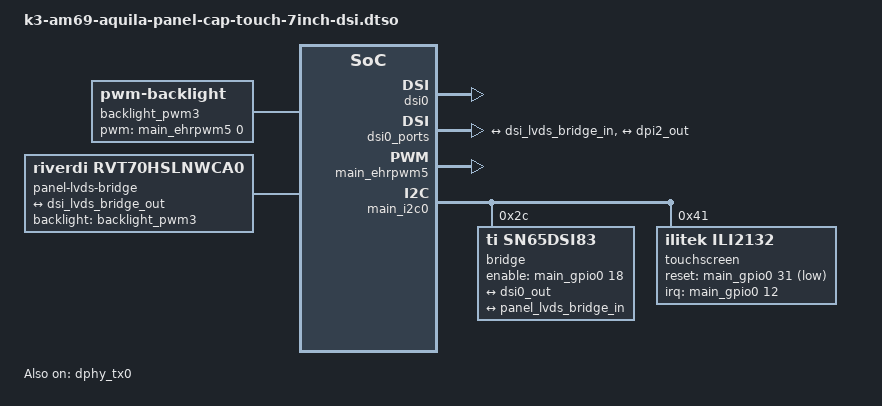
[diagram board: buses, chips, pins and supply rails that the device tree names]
// SPDX-License-Identifier: GPL-2.0-or-later OR MIT
/*
 * Copyright (c) Toradex
 *
 * Toradex Capacitive Touch Display 7" on Aquila DSI_1.
 * Used on Clover Board (J12), DSI_1 is exposed via a FFC/FPC connector.
 *
 * https://developer.toradex.com/hardware/accessories/displays/capacitive-touch-display-7inch-dsi
 * https://www.toradex.com/accessories/capacitive-touch-display-7-inch-dsi
 */

/dts-v1/;
/plugin/;

#include <dt-bindings/gpio/gpio.h>
#include <dt-bindings/interrupt-controller/irq.h>

&{/} {
	backlight_pwm3: backlight-pwm3 {
		compatible = "pwm-backlight";
		brightness-levels = <0 45 63 88 119 158 203 255>;
		default-brightness-level = <4>;
		/* Aquila PWM_3_DSI (AQUILA B46) */
		pwms = <&main_ehrpwm5 0 6666667 0>;
	};

	panel-lvds-bridge {
		compatible = "riverdi,rvt70hslnwca0", "panel-lvds";
		backlight = <&backlight_pwm3>;
		data-mapping = "vesa-24";
		height-mm = <86>;
		width-mm = <154>;

		panel-timing {
			clock-frequency = <51200000>;
			de-active = <1>;
			hactive = <1024>;
			hback-porch = <100 100 100>;
			hfront-porch = <16 160 216>;
			hsync-active = <0>;
			hsync-len = <1 60 140>;
			pixelclk-active = <1>;
			vactive = <600>;
			vback-porch = <13 13 13>;
			vfront-porch = <1 12 127>;
			vsync-active = <0>;
			vsync-len = <1 10 20>;
		};

		port {
			panel_lvds_bridge_in: endpoint {
				remote-endpoint = <&dsi_lvds_bridge_out>;
			};
		};
	};
};

&dphy_tx0 {
	status = "okay";
};

&dsi0 {
	status = "okay";
};

&dsi0_ports {
	#address-cells = <1>;
	#size-cells = <0>;

	port@0 {
		reg = <0>;

		dsi0_out: endpoint {
			remote-endpoint = <&dsi_lvds_bridge_in>;
		};
	};

	port@1 {
		reg = <1>;

		dsi0_in: endpoint {
			remote-endpoint = <&dpi2_out>;
		};
	};
};

&dss_ports {
	#address-cells = <1>;
	#size-cells = <0>;

	port@2 {
		reg = <2>;

		dpi2_out: endpoint {
			remote-endpoint = <&dsi0_in>;
		};
	};
};

/* Aquila PWM_3_DSI */
&main_ehrpwm5 {
	status = "okay";
};

/* Aquila I2C_3_DSI1 */
&main_i2c0 {
	#address-cells = <1>;
	#size-cells = <0>;

	status = "okay";

	bridge@2c {
		compatible = "ti,sn65dsi83";
		reg = <0x2c>;
		pinctrl-names = "default";
		pinctrl-0 = <&pinctrl_gpio_20_dsi_1>;
		/* Aquila GPIO_20_DSI_1 (AQUILA B45) */
		enable-gpios = <&main_gpio0 18 GPIO_ACTIVE_HIGH>;

		ports {
			#address-cells = <1>;
			#size-cells = <0>;

			port@0 {
				reg = <0>;

				dsi_lvds_bridge_in: endpoint {
					remote-endpoint = <&dsi0_out>;
					data-lanes = <1 2 3 4>;
				};
			};

			port@2 {
				reg = <2>;

				dsi_lvds_bridge_out: endpoint {
					remote-endpoint = <&panel_lvds_bridge_in>;
				};
			};
		};
	};

	touchscreen@41 {
		compatible = "ilitek,ili2132";
		reg = <0x41>;
		pinctrl-names = "default";
		pinctrl-0 = <&pinctrl_gpio_17_dsi_1>, <&pinctrl_gpio_18_dsi_1>;
		/* Aquila GPIO_17_DSI_1 (AQUILA B42) */
		interrupt-parent = <&main_gpio0>;
		/*
		 * Data-ready pulse is ~200 us; either edge can be used,
		 * use the rising edge because the falling edge is noisy.
		 */
		interrupts = <12 IRQ_TYPE_EDGE_RISING>;
		/* Aquila GPIO_18_DSI_1 (AQUILA B43) */
		reset-gpios = <&main_gpio0 31 GPIO_ACTIVE_LOW>;
	};
};
